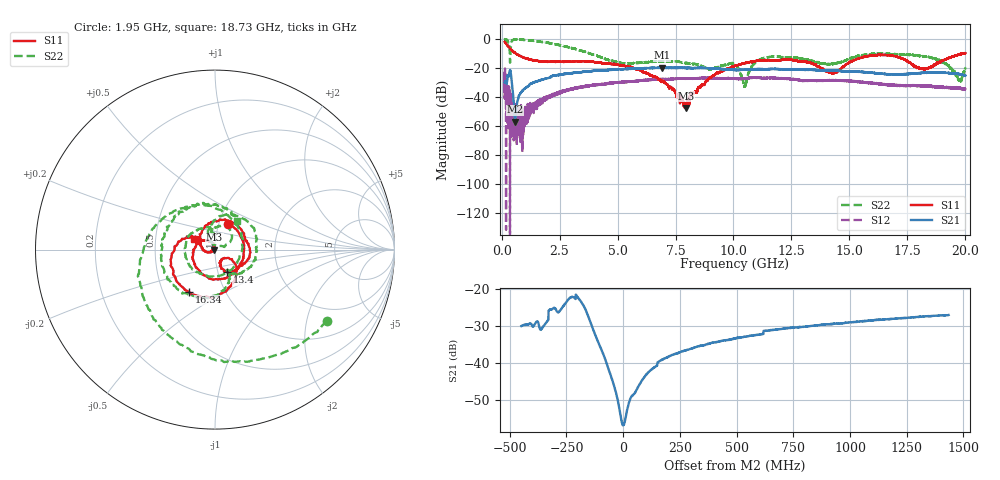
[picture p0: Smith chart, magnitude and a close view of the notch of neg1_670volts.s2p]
!Created with skrf (http://scikit-rf.org).
# GHz S RI R 50.0
!freq ReS11 ImS11 ReS21 ImS21 ReS12 ImS12 ReS22 ImS22
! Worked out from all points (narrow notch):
!   20013 points, 130 MHz to 20 GHz, reference 50 ohm
!   highest |S21| = -19.88 dB at 6.918 GHz (marker M1); lowest = -57.0 dB at 579 MHz (marker M2)
!   notch at M2: 35.2 dB deep, 239 MHz wide at half that depth
!   lowest |S11| = -47.6 dB at 7.942 GHz (marker M3), VSWR 1.01, Z = 49.6 - j0.053 ohm
!   |S11| at or under -10 dB: 605.4 MHz to 19.98 GHz (19.38 GHz wide, 188 % of centre); 19.98512 GHz to 19.98628 GHz (1.165 MHz wide, 0.00583 % of centre); 19.98704 GHz to 19.98811 GHz (1.07 MHz wide, 0.00535 % of centre)
!   |S22| runs from -33.0 to -0.2 dB; largest |S21 - S12| = 0.1
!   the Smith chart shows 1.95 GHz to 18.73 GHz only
!   S11 on the Smith chart (normalised r, x): 1.95 GHz: 1.11, +0.33; 13.4 GHz: 1.11, -0.29; 16.34 GHz: 0.68, -0.35; 18.73 GHz: 0.78, +0.10
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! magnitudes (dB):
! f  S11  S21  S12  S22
! 130 MHz  -2.1  -30.0  -35.3  -0.2
! 360 MHz  -6.6  -22.2  -47.7  -15.1
! 579 MHz  -9.7  -57.0  -55.5  -0.5
! 981 MHz  -13.1  -34.4  -51.1  -0.7
! 1.95 GHz  -15.8  -27.2  -40.3  -2.6
! 3.442 GHz  -15.6  -22.9  -33.0  -8.2
! 6.754 GHz  -27.6  -20.0  -28.0  -15.5
! 6.918 GHz  -29.2  -19.9  -27.9  -15.5
! 7.942 GHz  -47.6  -20.1  -27.5  -16.7
! 8.998 GHz  -26.7  -20.3  -27.0  -20.9
! 10.06 GHz  -18.4  -21.4  -27.5  -17.7
! 10.49 GHz  -16.7  -21.3  -27.4  -32.7
! 11.26 GHz  -14.8  -20.9  -27.1  -13.5
! 13.38 GHz  -16.8  -21.4  -28.7  -15.2
! 13.4 GHz  -16.8  -21.4  -28.7  -15.3
! 14.33 GHz  -23.5  -22.0  -28.5  -17.1
! 16.34 GHz  -11.1  -23.9  -31.0  -10.3
! 16.69 GHz  -11.4  -24.3  -32.0  -10.4
! 18.09 GHz  -20.5  -23.4  -32.6  -11.9
! 18.73 GHz  -17.5  -23.3  -33.0  -13.8
! 19.75 GHz  -10.7  -24.3  -33.9  -28.5
! 20 GHz  -9.9  -25.4  -34.3  -20.0
